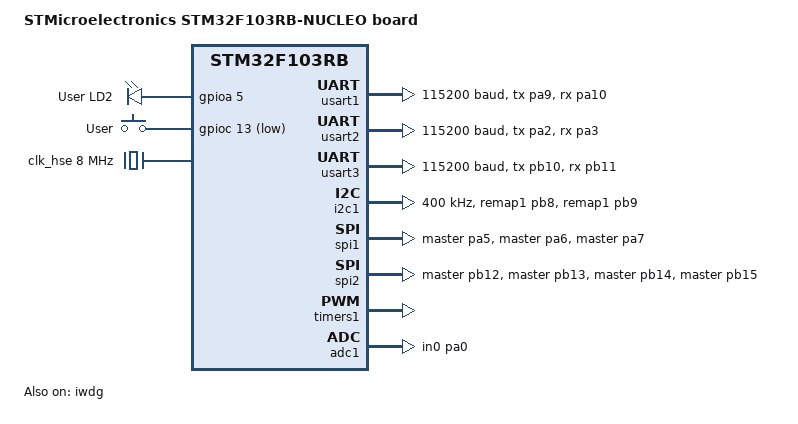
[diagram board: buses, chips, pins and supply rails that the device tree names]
/*
 * Copyright (c) 2017 Linaro Limited
 *
 * SPDX-License-Identifier: Apache-2.0
 */

/dts-v1/;
#include <st/f1/stm32f103Xb.dtsi>
#include <st/f1/stm32f103r(8-b)tx-pinctrl.dtsi>
#include "arduino_r3_connector.dtsi"

/ {
	model = "STMicroelectronics STM32F103RB-NUCLEO board";
	compatible = "st,stm32f103rb-nucleo";

	chosen {
		zephyr,console = &usart2;
		zephyr,shell-uart = &usart2;
		zephyr,sram = &sram0;
		zephyr,flash = &flash0;
	};

	leds {
		compatible = "gpio-leds";
		green_led_2: led_2 {
			gpios = <&gpioa 5 GPIO_ACTIVE_HIGH>;
			label = "User LD2";
		};
	};

	gpio_keys {
		compatible = "gpio-keys";
		user_button: button {
			label = "User";
			gpios = <&gpioc 13 GPIO_ACTIVE_LOW>;
		};
	};

	aliases {
		led0 = &green_led_2;
		sw0 = &user_button;
	};
};

&clk_hse {
	hse-bypass;
	clock-frequency = <DT_FREQ_M(8)>; /* STLink 8MHz clock */
	status = "okay";
};

&pll {
	mul = <9>;
	clocks = <&clk_hse>;
	status = "okay";
};

&rcc {
	clocks = <&pll>;
	clock-frequency = <DT_FREQ_M(72)>;
	ahb-prescaler = <1>;
	apb1-prescaler = <2>;
	apb2-prescaler = <1>;
};

&usart1 {
	pinctrl-0 = <&usart1_tx_pa9 &usart1_rx_pa10>;
	pinctrl-names = "default";
	current-speed = <115200>;
	status = "okay";
};

&usart2 {
	pinctrl-0 = <&usart2_tx_pa2 &usart2_rx_pa3>;
	pinctrl-names = "default";
	current-speed = <115200>;
	status = "okay";
};

&usart3 {
	pinctrl-0 = <&usart3_tx_pb10 &usart3_rx_pb11>;
	pinctrl-names = "default";
	current-speed = <115200>;
};

&i2c1 {
	pinctrl-0 = <&i2c1_scl_remap1_pb8 &i2c1_sda_remap1_pb9>;
	pinctrl-names = "default";
	status = "okay";
	clock-frequency = <I2C_BITRATE_FAST>;
};

&spi1 {
	pinctrl-0 = <&spi1_sck_master_pa5 &spi1_miso_master_pa6 &spi1_mosi_master_pa7>;
	pinctrl-names = "default";
	cs-gpios = <&gpiob 6 (GPIO_ACTIVE_LOW | GPIO_PULL_UP)>;
	status = "okay";
};

&spi2 {
	pinctrl-0 = <&spi2_nss_master_pb12 &spi2_sck_master_pb13
		     &spi2_miso_master_pb14 &spi2_mosi_master_pb15>;
	pinctrl-names = "default";
	status = "okay";
};

&timers1 {
	st,prescaler = <10000>;
	status = "okay";

	pwm1: pwm {
		status = "okay";
		pinctrl-0 = <&tim1_ch1_pwm_pa8>;
		pinctrl-names = "default";
	};
};

&iwdg {
	status = "okay";
};

&adc1 {
	pinctrl-0 = <&adc1_in0_pa0>;
	pinctrl-names = "default";
	status = "okay";
};

&dma1 {
	status = "okay";
};

&flash0 {
	partitions {
		compatible = "fixed-partitions";
		#address-cells = <1>;
		#size-cells = <1>;

		/* Set 2KB of storage at the end of 128KB flash */
		storage_partition: partition@1f800 {
			label = "storage";
			reg = <0x0001f800 DT_SIZE_K(2)>;
		};
	};
};
